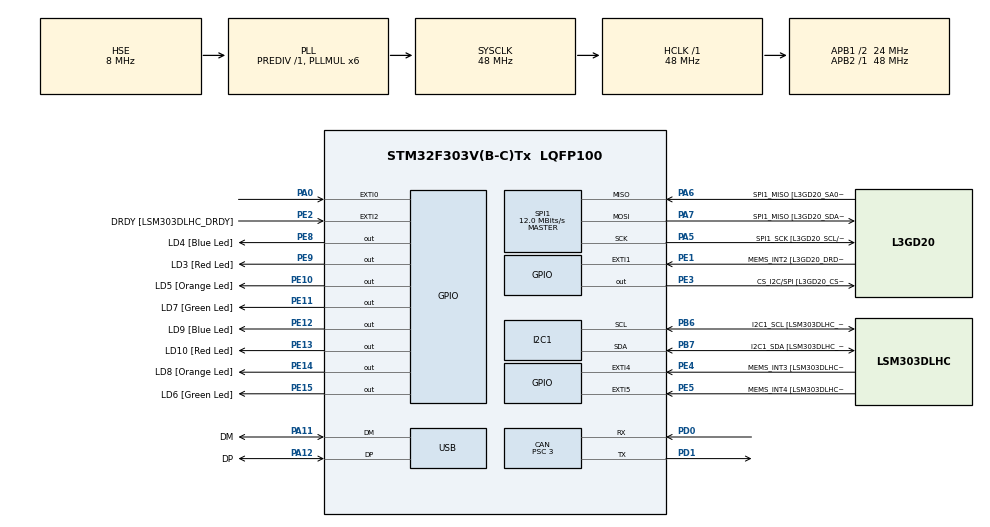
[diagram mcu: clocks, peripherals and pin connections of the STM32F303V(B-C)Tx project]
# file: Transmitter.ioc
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CAN.BS1=CAN_BS1_6TQ
CAN.CalculateBaudRate=1000000
CAN.CalculateTimeBit=1000
CAN.CalculateTimeQuantum=125.0
CAN.Mode=CAN_MODE_NORMAL
CAN.Prescaler=3
I2C1.Timing-I2C=0x2000090E
Mcu.Family=STM32F3
Mcu.Name=STM32F303V(B-C)Tx
Mcu.Package=LQFP100
NVIC.CAN_RX1_IRQn=true\:0\:0\:false\:false\:true\:true\:true\:true
NVIC.EXTI0_IRQn=true\:0\:0\:false\:false\:true\:true\:true\:true
NVIC.PriorityGroup=NVIC_PRIORITYGROUP_0
NVIC.USB_LP_CAN_RX0_IRQn=true\:0\:0\:false\:false\:true\:true\:true\:true
PA0.Signal=GPXTI0
PA11.GPIO_Label=DM
PA11.Mode=Device
PA11.Signal=USB_DM
PA12.GPIO_Label=DP
PA12.Mode=Device
PA12.Signal=USB_DP
PA13.GPIO_Label=SWDIO
PA13.Mode=Serial_Wire
PA13.Signal=SYS_JTMS-SWDIO
PA14.GPIO_Label=SWCLK
PA14.Mode=Serial_Wire
PA14.Signal=SYS_JTCK-SWCLK
PA5.GPIO_Label=SPI1_SCK [L3GD20_SCL/SPC]
PA5.Mode=Full_Duplex_Master
PA5.Signal=SPI1_SCK
PA6.GPIO_Label=SPI1_MISO [L3GD20_SA0/SDO]
PA6.Mode=Full_Duplex_Master
PA6.Signal=SPI1_MISO
PA7.GPIO_Label=SPI1_MISO [L3GD20_SDA/SDI/SDO]
PA7.Mode=Full_Duplex_Master
PA7.Signal=SPI1_MOSI
PB3.GPIO_Label=SWO
PB3.Signal=SYS_JTDO-TRACESWO
PB6.GPIO_Label=I2C1_SCL [LSM303DLHC_SCL]
PB6.GPIO_Pu=GPIO_PULLUP
PB6.Mode=I2C
PB6.Signal=I2C1_SCL
PB7.GPIO_Label=I2C1_SDA [LSM303DLHC_SDA]
PB7.GPIO_Pu=GPIO_PULLUP
PB7.Mode=I2C
PB7.Signal=I2C1_SDA
PC14-OSC32_IN.GPIO_Label=OSC32_IN
PC14-OSC32_IN.Mode=LSE-External-Oscillator
PC14-OSC32_IN.Signal=RCC_OSC32_IN
PC15-OSC32_OUT.GPIO_Label=OSC32_OUT
PC15-OSC32_OUT.Mode=LSE-External-Oscillator
PC15-OSC32_OUT.Signal=RCC_OSC32_OUT
PD0.GPIO_PuPd=GPIO_PULLUP
PD0.Mode=CAN_Activate
PD0.Signal=CAN_RX
PD1.GPIO_PuPd=GPIO_NOPULL
PD1.Mode=CAN_Activate
PD1.Signal=CAN_TX
PE1.GPIO_Label=MEMS_INT2 [L3GD20_DRDY/INT2]
PE1.GPIO_ModeDefaultEXTI=GPIO_MODE_EVT_RISING
PE1.Signal=GPXTI1
PE10.GPIO_Label=LD5 [Orange Led]
PE10.Signal=GPIO_Output
PE11.GPIO_Label=LD7 [Green Led]
PE11.Signal=GPIO_Output
PE12.GPIO_Label=LD9 [Blue Led]
PE12.Signal=GPIO_Output
PE13.GPIO_Label=LD10 [Red Led]
PE13.Signal=GPIO_Output
PE14.GPIO_Label=LD8 [Orange Led]
PE14.Signal=GPIO_Output
PE15.GPIO_Label=LD6 [Green Led]
PE15.Signal=GPIO_Output
PE2.GPIO_Label=DRDY [LSM303DLHC_DRDY]
PE2.GPIO_ModeDefaultEXTI=GPIO_MODE_EVT_RISING
PE2.Signal=GPXTI2
PE3.GPIO_Label=CS_I2C/SPI [L3GD20_CS_I2C/SPI]
PE3.Signal=GPIO_Output
PE4.GPIO_Label=MEMS_INT3 [LSM303DLHC_INT1]
PE4.GPIO_ModeDefaultEXTI=GPIO_MODE_EVT_RISING
PE4.Signal=GPXTI4
PE5.GPIO_Label=MEMS_INT4 [LSM303DLHC_INT2]
PE5.GPIO_ModeDefaultEXTI=GPIO_MODE_EVT_RISING
PE5.Signal=GPXTI5
PE8.GPIO_Label=LD4 [Blue Led]
PE8.Signal=GPIO_Output
PE9.GPIO_Label=LD3 [Red Led]
PE9.Signal=GPIO_Output
PF0-OSC_IN.GPIO_Label=OSC_IN
PF0-OSC_IN.Mode=HSE-External-Oscillator
PF0-OSC_IN.Signal=RCC_OSC_IN
PF1-OSC_OUT.GPIO_Label=OSC_OUT
PF1-OSC_OUT.Mode=HSE-External-Oscillator
PF1-OSC_OUT.Signal=RCC_OSC_OUT
ProjectManager.HeapSize=0x200
ProjectManager.StackSize=0x400
ProjectManager.TargetToolchain=STM32CubeIDE
RCC.AHBFreq_Value=48000000
RCC.APB1CLKDivider=RCC_HCLK_DIV2
RCC.APB1Freq_Value=24000000
RCC.APB1TimFreq_Value=48000000
RCC.APB2Freq_Value=48000000
RCC.APB2TimFreq_Value=48000000
RCC.CortexFreq_Value=48000000
RCC.HCLKFreq_Value=48000000
RCC.HSE_VALUE=8000000
RCC.HSI_VALUE=8000000
RCC.PLLMUL=RCC_PLL_MUL6
RCC.SYSCLKFreq_VALUE=48000000
RCC.SYSCLKSourceVirtual=RCC_SYSCLKSOURCE_PLLCLK
RCC.USBFreq_Value=48000000
SPI1.BaudRatePrescaler=SPI_BAUDRATEPRESCALER_4
SPI1.BaudRatePrescaler-Full_Duplex_Master=SPI_BAUDRATEPRESCALER_2
SPI1.CalculateBaudRate=12.0 MBits/s
SPI1.CalculateBaudRate-Full_Duplex_Master=24.0 MBits/s
SPI1.Direction=SPI_DIRECTION_2LINES
SPI1.Mode=SPI_MODE_MASTER
SPI1.Mode-Full_Duplex_Master=SPI_MODE_MASTER
SPI1.VirtualType=VM_MASTER
board=STM32F3DISCOVERY

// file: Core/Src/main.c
/* USER CODE BEGIN Header */
/**
  ******************************************************************************
  * @file           : main.c
  * @brief          : Main program body
  ******************************************************************************
  * @attention
  *
  * Copyright (c) 2023 STMicroelectronics.
  * All rights reserved.
  *
  * This software is licensed under terms that can be found in the LICENSE file
  * in the root directory of this software component.
  * If no LICENSE file comes with this software, it is provided AS-IS.
  *
  ******************************************************************************
  */
/* USER CODE END Header */
#include <string.h>
#include "main.h"

/* USER CODE BEGIN Includes */
#include "stdbool.h"
/* USER CODE END Includes */

CAN_HandleTypeDef hcan;

I2C_HandleTypeDef hi2c1;

SPI_HandleTypeDef hspi1;

PCD_HandleTypeDef hpcd_USB_FS;

void SystemClock_Config(void);
static void MX_GPIO_Init(void);
static void MX_I2C1_Init(void);
static void MX_SPI1_Init(void);
static void MX_USB_PCD_Init(void);
static void MX_CAN_Init(void);

/* USER CODE BEGIN 0 */
CAN_TxHeaderTypeDef txHeader;
CAN_RxHeaderTypeDef RxHeader;
uint8_t TxData[8];
uint8_t RxData[8];
uint32_t mailbox;

bool datacheck = false;

void HAL_CAN_RxFifo0MsgPendingCallback(CAN_HandleTypeDef *hcan)
{
    HAL_CAN_GetRxMessage(hcan, CAN_RX_FIFO0, &RxHeader, RxData);
    HAL_GPIO_WritePin(GPIOE, GPIO_PIN_10, GPIO_PIN_SET);
}

void HAL_CAN_RxFifo1MsgPendingCallback(CAN_HandleTypeDef *hcan)
{
    HAL_CAN_GetRxMessage(hcan, CAN_RX_FIFO1, &RxHeader, RxData);
    HAL_GPIO_WritePin(GPIOE, GPIO_PIN_11, GPIO_PIN_SET);
}

/* USER CODE END 0 */

int main(void)
{

  /* MCU Configuration--------------------------------------------------------*/

  /* Reset of all peripherals, Initializes the Flash interface and the Systick. */
  HAL_Init();

  /* Configure the system clock */
  SystemClock_Config();

  /* Initialize all configured peripherals */
  MX_GPIO_Init();
  MX_I2C1_Init();
  MX_SPI1_Init();
  MX_USB_PCD_Init();
  MX_CAN_Init();
  /* USER CODE BEGIN 2 */
    HAL_CAN_Start(&hcan);
    HAL_CAN_ActivateNotification(&hcan, CAN_IT_RX_FIFO0_MSG_PENDING);
    HAL_CAN_ActivateNotification(&hcan, CAN_IT_RX_FIFO1_MSG_PENDING);
    txHeader.DLC = 8;
    txHeader.IDE = CAN_ID_STD;
    txHeader.RTR = CAN_RTR_DATA;
    txHeader.StdId = 0x101;
    txHeader.TransmitGlobalTime = DISABLE;

  /* USER CODE END 2 */

  /* Infinite loop */
  /* USER CODE BEGIN WHILE */
  while (1)
  {
      txHeader.DLC = 8;
      txHeader.IDE = CAN_ID_STD;
      txHeader.RTR = CAN_RTR_DATA;
      txHeader.StdId = 0x101;
      txHeader.TransmitGlobalTime = DISABLE;
      memset(TxData, 0, sizeof(TxData));
      if(HAL_CAN_AddTxMessage(&hcan, &txHeader, TxData, &mailbox) != HAL_OK){
          HAL_GPIO_WritePin(GPIOE, GPIO_PIN_9, GPIO_PIN_SET);
      }

      HAL_Delay(5000);
      txHeader.DLC = 8;
      txHeader.IDE = CAN_ID_STD;
      txHeader.RTR = CAN_RTR_DATA;
      txHeader.StdId = 0x101;
      txHeader.TransmitGlobalTime = DISABLE;
      memset(TxData, 0xFF, sizeof(TxData));
      if(HAL_CAN_AddTxMessage(&hcan, &txHeader, TxData, &mailbox) != HAL_OK){
          HAL_GPIO_WritePin(GPIOE, GPIO_PIN_9, GPIO_PIN_SET);
      }
      HAL_Delay(3000);
    /* USER CODE END WHILE */

  }
}

/**окей для контексту

  * @brief System Clock Configuration
  * @retval None
  */
void SystemClock_Config(void)
{
  RCC_OscInitTypeDef RCC_OscInitStruct = {0};
  RCC_ClkInitTypeDef RCC_ClkInitStruct = {0};
  RCC_PeriphCLKInitTypeDef PeriphClkInit = {0};

  /** Initializes the RCC Oscillators according to the specified parameters
  * in the RCC_OscInitTypeDef structure.
  */
  RCC_OscInitStruct.OscillatorType = RCC_OSCILLATORTYPE_HSI|RCC_OSCILLATORTYPE_HSE;
  RCC_OscInitStruct.HSEState = RCC_HSE_ON;
  RCC_OscInitStruct.HSEPredivValue = RCC_HSE_PREDIV_DIV1;
  RCC_OscInitStruct.HSIState = RCC_HSI_ON;
  RCC_OscInitStruct.HSICalibrationValue = RCC_HSICALIBRATION_DEFAULT;
  RCC_OscInitStruct.PLL.PLLState = RCC_PLL_ON;
  RCC_OscInitStruct.PLL.PLLSource = RCC_PLLSOURCE_HSE;
  RCC_OscInitStruct.PLL.PLLMUL = RCC_PLL_MUL6;
  if (HAL_RCC_OscConfig(&RCC_OscInitStruct) != HAL_OK)
  {
    Error_Handler();
  }

  /** Initializes the CPU, AHB and APB buses clocks
  */
  RCC_ClkInitStruct.ClockType = RCC_CLOCKTYPE_HCLK|RCC_CLOCKTYPE_SYSCLK
                              |RCC_CLOCKTYPE_PCLK1|RCC_CLOCKTYPE_PCLK2;
  RCC_ClkInitStruct.SYSCLKSource = RCC_SYSCLKSOURCE_PLLCLK;
  RCC_ClkInitStruct.AHBCLKDivider = RCC_SYSCLK_DIV1;
  RCC_ClkInitStruct.APB1CLKDivider = RCC_HCLK_DIV2;
  RCC_ClkInitStruct.APB2CLKDivider = RCC_HCLK_DIV1;

  if (HAL_RCC_ClockConfig(&RCC_ClkInitStruct, FLASH_LATENCY_1) != HAL_OK)
  {
    Error_Handler();
  }
  PeriphClkInit.PeriphClockSelection = RCC_PERIPHCLK_USB|RCC_PERIPHCLK_I2C1;
  PeriphClkInit.I2c1ClockSelection = RCC_I2C1CLKSOURCE_HSI;
  PeriphClkInit.USBClockSelection = RCC_USBCLKSOURCE_PLL;
  if (HAL_RCCEx_PeriphCLKConfig(&PeriphClkInit) != HAL_OK)
  {
    Error_Handler();
  }
}

static void MX_CAN_Init(void)
{

  /* USER CODE BEGIN CAN_Init 1 */
    CAN_FilterTypeDef sFilterConfig;
  /* USER CODE END CAN_Init 1 */
  hcan.Instance = CAN;
  hcan.Init.Prescaler = 3;
  hcan.Init.Mode = CAN_MODE_NORMAL;
  hcan.Init.SyncJumpWidth = CAN_SJW_1TQ;
  hcan.Init.TimeSeg1 = CAN_BS1_6TQ;
  hcan.Init.TimeSeg2 = CAN_BS2_1TQ;
  hcan.Init.TimeTriggeredMode = DISABLE;
  hcan.Init.AutoBusOff = DISABLE;
  hcan.Init.AutoWakeUp = DISABLE;
  hcan.Init.AutoRetransmission = DISABLE;
  hcan.Init.ReceiveFifoLocked = DISABLE;
  hcan.Init.TransmitFifoPriority = DISABLE;
  if (HAL_CAN_Init(&hcan) != HAL_OK)
  {
    Error_Handler();
  }
  /* USER CODE BEGIN CAN_Init 2 */

  sFilterConfig.FilterBank = 0;
    sFilterConfig.FilterMode = CAN_FILTERMODE_IDMASK;
    sFilterConfig.FilterScale = CAN_FILTERSCALE_32BIT;
    sFilterConfig.FilterIdHigh = 0x100 << 5;
    sFilterConfig.FilterIdLow = 0x0000;
    sFilterConfig.FilterMaskIdHigh = 0x100 << 5;
    sFilterConfig.FilterMaskIdLow = 0x0000;
    sFilterConfig.FilterFIFOAssignment = CAN_RX_FIFO0;
    sFilterConfig.FilterActivation = ENABLE;
    sFilterConfig.SlaveStartFilterBank = 14;
    if (HAL_CAN_ConfigFilter(&hcan, &sFilterConfig) != HAL_OK)
    {
      Error_Handler();
    }
  /* USER CODE END CAN_Init 2 */

}

static void MX_I2C1_Init(void)
{

  hi2c1.Instance = I2C1;
  hi2c1.Init.Timing = 0x2000090E;
  hi2c1.Init.OwnAddress1 = 0;
  hi2c1.Init.AddressingMode = I2C_ADDRESSINGMODE_7BIT;
  hi2c1.Init.DualAddressMode = I2C_DUALADDRESS_DISABLE;
  hi2c1.Init.OwnAddress2 = 0;
  hi2c1.Init.OwnAddress2Masks = I2C_OA2_NOMASK;
  hi2c1.Init.GeneralCallMode = I2C_GENERALCALL_DISABLE;
  hi2c1.Init.NoStretchMode = I2C_NOSTRETCH_DISABLE;
  if (HAL_I2C_Init(&hi2c1) != HAL_OK)
  {
    Error_Handler();
  }

  /** Configure Analogue filter
  */
  if (HAL_I2CEx_ConfigAnalogFilter(&hi2c1, I2C_ANALOGFILTER_ENABLE) != HAL_OK)
  {
    Error_Handler();
  }

  /** Configure Digital filter
  */
  if (HAL_I2CEx_ConfigDigitalFilter(&hi2c1, 0) != HAL_OK)
  {
    Error_Handler();
  }

}

static void MX_SPI1_Init(void)
{

  /* SPI1 parameter configuration*/
  hspi1.Instance = SPI1;
  hspi1.Init.Mode = SPI_MODE_MASTER;
  hspi1.Init.Direction = SPI_DIRECTION_2LINES;
  hspi1.Init.DataSize = SPI_DATASIZE_4BIT;
  hspi1.Init.CLKPolarity = SPI_POLARITY_LOW;
  hspi1.Init.CLKPhase = SPI_PHASE_1EDGE;
  hspi1.Init.NSS = SPI_NSS_SOFT;
  hspi1.Init.BaudRatePrescaler = SPI_BAUDRATEPRESCALER_4;
  hspi1.Init.FirstBit = SPI_FIRSTBIT_MSB;
  hspi1.Init.TIMode = SPI_TIMODE_DISABLE;
  hspi1.Init.CRCCalculation = SPI_CRCCALCULATION_DISABLE;
  hspi1.Init.CRCPolynomial = 7;
  hspi1.Init.CRCLength = SPI_CRC_LENGTH_DATASIZE;
  hspi1.Init.NSSPMode = SPI_NSS_PULSE_ENABLE;
  if (HAL_SPI_Init(&hspi1) != HAL_OK)
  {
    Error_Handler();
  }

}

static void MX_USB_PCD_Init(void)
{

  hpcd_USB_FS.Instance = USB;
  hpcd_USB_FS.Init.dev_endpoints = 8;
  hpcd_USB_FS.Init.speed = PCD_SPEED_FULL;
  hpcd_USB_FS.Init.phy_itface = PCD_PHY_EMBEDDED;
  hpcd_USB_FS.Init.low_power_enable = DISABLE;
  hpcd_USB_FS.Init.battery_charging_enable = DISABLE;
  if (HAL_PCD_Init(&hpcd_USB_FS) != HAL_OK)
  {
    Error_Handler();
  }

}

static void MX_GPIO_Init(void)
{
  GPIO_InitTypeDef GPIO_InitStruct = {0};

  /* GPIO Ports Clock Enable */
  __HAL_RCC_GPIOE_CLK_ENABLE();
  __HAL_RCC_GPIOC_CLK_ENABLE();
  __HAL_RCC_GPIOF_CLK_ENABLE();
  __HAL_RCC_GPIOA_CLK_ENABLE();
  __HAL_RCC_GPIOD_CLK_ENABLE();
  __HAL_RCC_GPIOB_CLK_ENABLE();

  /*Configure GPIO pin Output Level */
  HAL_GPIO_WritePin(GPIOE, CS_I2C_SPI_Pin|LD4_Pin|LD3_Pin|LD5_Pin
                          |LD7_Pin|LD9_Pin|LD10_Pin|LD8_Pin
                          |LD6_Pin, GPIO_PIN_RESET);

  /*Configure GPIO pins : DRDY_Pin MEMS_INT3_Pin MEMS_INT4_Pin MEMS_INT2_Pin */
  GPIO_InitStruct.Pin = DRDY_Pin|MEMS_INT3_Pin|MEMS_INT4_Pin|MEMS_INT2_Pin;
  GPIO_InitStruct.Mode = GPIO_MODE_EVT_RISING;
  GPIO_InitStruct.Pull = GPIO_NOPULL;
  HAL_GPIO_Init(GPIOE, &GPIO_InitStruct);

  /*Configure GPIO pins : CS_I2C_SPI_Pin LD4_Pin LD3_Pin LD5_Pin
                           LD7_Pin LD9_Pin LD10_Pin LD8_Pin
                           LD6_Pin */
  GPIO_InitStruct.Pin = CS_I2C_SPI_Pin|LD4_Pin|LD3_Pin|LD5_Pin
                          |LD7_Pin|LD9_Pin|LD10_Pin|LD8_Pin
                          |LD6_Pin;
  GPIO_InitStruct.Mode = GPIO_MODE_OUTPUT_PP;
  GPIO_InitStruct.Pull = GPIO_NOPULL;
  GPIO_InitStruct.Speed = GPIO_SPEED_FREQ_LOW;
  HAL_GPIO_Init(GPIOE, &GPIO_InitStruct);

  /*Configure GPIO pin : PA0 */
  GPIO_InitStruct.Pin = GPIO_PIN_0;
  GPIO_InitStruct.Mode = GPIO_MODE_IT_RISING;
  GPIO_InitStruct.Pull = GPIO_NOPULL;
  HAL_GPIO_Init(GPIOA, &GPIO_InitStruct);

  /* EXTI interrupt init*/
  HAL_NVIC_SetPriority(EXTI0_IRQn, 0, 0);
  HAL_NVIC_EnableIRQ(EXTI0_IRQn);

}

void Error_Handler(void)
{
  __disable_irq();
  while (1)
  {
  }
}
